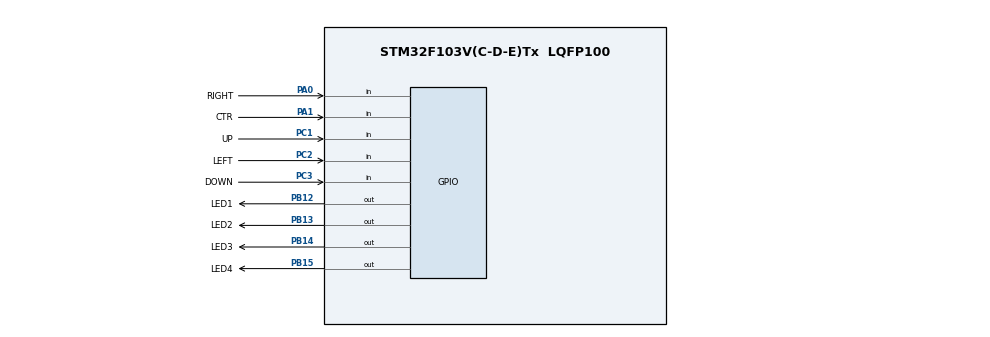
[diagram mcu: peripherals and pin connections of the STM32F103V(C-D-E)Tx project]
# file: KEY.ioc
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Mcu.Family=STM32F1
Mcu.Name=STM32F103V(C-D-E)Tx
Mcu.Package=LQFP100
NVIC.PriorityGroup=NVIC_PRIORITYGROUP_4
OSC_IN.Mode=HSE-External-Oscillator
OSC_IN.Signal=RCC_OSC_IN
OSC_OUT.Mode=HSE-External-Oscillator
OSC_OUT.Signal=RCC_OSC_OUT
PA0-WKUP.GPIO_Label=RIGHT
PA0-WKUP.GPIO_PuPd=GPIO_PULLUP
PA0-WKUP.Signal=GPIO_Input
PA1.GPIO_Label=CTR
PA1.GPIO_PuPd=GPIO_PULLUP
PA1.Signal=GPIO_Input
PA13.Mode=Serial_Wire
PA13.Signal=SYS_JTMS-SWDIO
PA14.Mode=Serial_Wire
PA14.Signal=SYS_JTCK-SWCLK
PB12.GPIO_Label=LED1
PB12.Signal=GPIO_Output
PB13.GPIO_Label=LED2
PB13.Signal=GPIO_Output
PB14.GPIO_Label=LED3
PB14.Signal=GPIO_Output
PB15.GPIO_Label=LED4
PB15.Signal=GPIO_Output
PC1.GPIO_Label=UP
PC1.GPIO_PuPd=GPIO_PULLUP
PC1.Signal=GPIO_Input
PC2.GPIO_Label=LEFT
PC2.GPIO_PuPd=GPIO_PULLUP
PC2.Signal=GPIO_Input
PC3.GPIO_Label=DOWN
PC3.GPIO_PuPd=GPIO_PULLUP
PC3.Signal=GPIO_Input
ProjectManager.HeapSize=0x400
ProjectManager.StackSize=0x200
ProjectManager.TargetToolchain=STM32CubeIDE
RCC.APB1Freq_Value=8000000
RCC.APB2Freq_Value=8000000
board=KEY

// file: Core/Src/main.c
/**
  ******************************************************************************
  * File Name          : main.c
  * Description        : Main program body
  ******************************************************************************
  *
  * COPYRIGHT(c) 2020 STMicroelectronics
  *
  * Redistribution and use in source and binary forms, with or without modification,
  * are permitted provided that the following conditions are met:
  *   1. Redistributions of source code must retain the above copyright notice,
  *      this list of conditions and the following disclaimer.
  *   2. Redistributions in binary form must reproduce the above copyright notice,
  *      this list of conditions and the following disclaimer in the documentation
  *      and/or other materials provided with the distribution.
  *   3. Neither the name of STMicroelectronics nor the names of its contributors
  *      may be used to endorse or promote products derived from this software
  *      without specific prior written permission.
  *
  * THIS SOFTWARE IS PROVIDED BY THE COPYRIGHT HOLDERS AND CONTRIBUTORS "AS IS"
  * AND ANY EXPRESS OR IMPLIED WARRANTIES, INCLUDING, BUT NOT LIMITED TO, THE
  * IMPLIED WARRANTIES OF MERCHANTABILITY AND FITNESS FOR A PARTICULAR PURPOSE ARE
  * DISCLAIMED. IN NO EVENT SHALL THE COPYRIGHT HOLDER OR CONTRIBUTORS BE LIABLE
  * FOR ANY DIRECT, INDIRECT, INCIDENTAL, SPECIAL, EXEMPLARY, OR CONSEQUENTIAL
  * DAMAGES (INCLUDING, BUT NOT LIMITED TO, PROCUREMENT OF SUBSTITUTE GOODS OR
  * SERVICES; LOSS OF USE, DATA, OR PROFITS; OR BUSINESS INTERRUPTION) HOWEVER
  * CAUSED AND ON ANY THEORY OF LIABILITY, WHETHER IN CONTRACT, STRICT LIABILITY,
  * OR TORT (INCLUDING NEGLIGENCE OR OTHERWISE) ARISING IN ANY WAY OUT OF THE USE
  * OF THIS SOFTWARE, EVEN IF ADVISED OF THE POSSIBILITY OF SUCH DAMAGE.
  *
  ******************************************************************************
  */
#include "stm32f1xx_hal.h"
#include "gpio.h"

/* USER CODE BEGIN PV */
/* Private variables ---------------------------------------------------------*/

/* USER CODE END PV */

void SystemClock_Config(void);

/* USER CODE BEGIN PFP */
/* Private function prototypes -----------------------------------------------*/

/* USER CODE END PFP */

int main(void)
{

  /* MCU Configuration----------------------------------------------------------*/

  /* Reset of all peripherals, Initializes the Flash interface and the Systick. */
  HAL_Init();

  /* Configure the system clock */
  SystemClock_Config();

  /* Initialize all configured peripherals */
  MX_GPIO_Init();
  SystemClock_Config();

  /* USER CODE BEGIN 2 */
  HAL_GPIO_WritePin(LED1_GPIO_Port, LED1_Pin, GPIO_PIN_RESET);
  HAL_GPIO_WritePin(LED2_GPIO_Port, LED2_Pin, GPIO_PIN_RESET);
  HAL_GPIO_WritePin(LED3_GPIO_Port, LED3_Pin, GPIO_PIN_RESET);
  HAL_GPIO_WritePin(LED4_GPIO_Port, LED4_Pin, GPIO_PIN_RESET);
  /* USER CODE END 2 */

  /* Infinite loop */
  /* USER CODE BEGIN WHILE */
  while (1)
  {
//	  HAL_GPIO_WritePin(LED1_GPIO_Port, LED1_Pin, GPIO_PIN_SET);
//	  HAL_GPIO_WritePin(LED2_GPIO_Port, LED2_Pin, GPIO_PIN_SET);
//	  HAL_GPIO_WritePin(LED3_GPIO_Port, LED3_Pin, GPIO_PIN_SET);
//	  HAL_GPIO_WritePin(LED4_GPIO_Port, LED4_Pin, GPIO_PIN_SET);
//	  HAL_Delay(1000);
//
//	  HAL_GPIO_WritePin(LED1_GPIO_Port, LED1_Pin, GPIO_PIN_RESET);
//	  HAL_GPIO_WritePin(LED2_GPIO_Port, LED2_Pin, GPIO_PIN_RESET);
//	  HAL_GPIO_WritePin(LED3_GPIO_Port, LED3_Pin, GPIO_PIN_RESET);
//	  HAL_GPIO_WritePin(LED4_GPIO_Port, LED4_Pin, GPIO_PIN_RESET);
//	  HAL_Delay(1000);

	  if(HAL_GPIO_ReadPin(UP_GPIO_Port, UP_Pin) == GPIO_PIN_SET)
	  {
	  	HAL_GPIO_WritePin(LED1_GPIO_Port, LED1_Pin, GPIO_PIN_RESET);
	  }
	  else	HAL_GPIO_WritePin(LED1_GPIO_Port, LED1_Pin, GPIO_PIN_SET);

	  if(HAL_GPIO_ReadPin(DOWN_GPIO_Port, DOWN_Pin) == GPIO_PIN_SET)
	  {
	  	HAL_GPIO_WritePin(LED2_GPIO_Port, LED2_Pin, GPIO_PIN_RESET);
	  }
	  else	HAL_GPIO_WritePin(LED2_GPIO_Port, LED2_Pin, GPIO_PIN_SET);

	  if(HAL_GPIO_ReadPin(LEFT_GPIO_Port, LEFT_Pin) == GPIO_PIN_SET)
	  {
		  HAL_GPIO_WritePin(LED3_GPIO_Port, LED3_Pin, GPIO_PIN_RESET);
	  }
	  else	HAL_GPIO_WritePin(LED3_GPIO_Port, LED3_Pin, GPIO_PIN_SET);

	  if(HAL_GPIO_ReadPin(RIGHT_GPIO_Port, RIGHT_Pin) == GPIO_PIN_SET)
	  {
	  	HAL_GPIO_WritePin(LED4_GPIO_Port, LED4_Pin, GPIO_PIN_RESET);
	  }
	  else	HAL_GPIO_WritePin(LED4_GPIO_Port, LED4_Pin, GPIO_PIN_SET);

	  if(HAL_GPIO_ReadPin(CTR_GPIO_Port, CTR_Pin) == GPIO_PIN_SET)
	  {
	  	HAL_GPIO_WritePin(LED1_GPIO_Port, LED1_Pin, GPIO_PIN_RESET);
	  	HAL_GPIO_WritePin(LED2_GPIO_Port, LED2_Pin, GPIO_PIN_RESET);
	  	HAL_GPIO_WritePin(LED3_GPIO_Port, LED3_Pin, GPIO_PIN_RESET);
	  	HAL_GPIO_WritePin(LED4_GPIO_Port, LED4_Pin, GPIO_PIN_RESET);
	  }
	  else
	  {
		  HAL_GPIO_WritePin(LED1_GPIO_Port, LED1_Pin, GPIO_PIN_SET);
		  HAL_GPIO_WritePin(LED2_GPIO_Port, LED2_Pin, GPIO_PIN_SET);
		  HAL_GPIO_WritePin(LED3_GPIO_Port, LED3_Pin, GPIO_PIN_SET);
		  HAL_GPIO_WritePin(LED4_GPIO_Port, LED4_Pin, GPIO_PIN_SET);
	  }
  /* USER CODE END WHILE */

  }

}

/** System Clock Configuration
*/
void SystemClock_Config(void)
{

  RCC_OscInitTypeDef RCC_OscInitStruct;
  RCC_ClkInitTypeDef RCC_ClkInitStruct;

  RCC_OscInitStruct.OscillatorType = RCC_OSCILLATORTYPE_HSI;
  RCC_OscInitStruct.HSIState = RCC_HSI_ON;
  RCC_OscInitStruct.HSICalibrationValue = 16;
  RCC_OscInitStruct.PLL.PLLState = RCC_PLL_NONE;
  HAL_RCC_OscConfig(&RCC_OscInitStruct);

  RCC_ClkInitStruct.ClockType = RCC_CLOCKTYPE_HCLK|RCC_CLOCKTYPE_SYSCLK
                              |RCC_CLOCKTYPE_PCLK1|RCC_CLOCKTYPE_PCLK2;
  RCC_ClkInitStruct.SYSCLKSource = RCC_SYSCLKSOURCE_HSI;
  RCC_ClkInitStruct.AHBCLKDivider = RCC_SYSCLK_DIV1;
  RCC_ClkInitStruct.APB1CLKDivider = RCC_HCLK_DIV1;
  RCC_ClkInitStruct.APB2CLKDivider = RCC_HCLK_DIV1;
  HAL_RCC_ClockConfig(&RCC_ClkInitStruct, FLASH_LATENCY_0);

  HAL_SYSTICK_Config(HAL_RCC_GetHCLKFreq()/1000);

  HAL_SYSTICK_CLKSourceConfig(SYSTICK_CLKSOURCE_HCLK);

  /* SysTick_IRQn interrupt configuration */
  HAL_NVIC_SetPriority(SysTick_IRQn, 0, 0);
}

/************************ (C) COPYRIGHT STMicroelectronics *****END OF FILE****/
